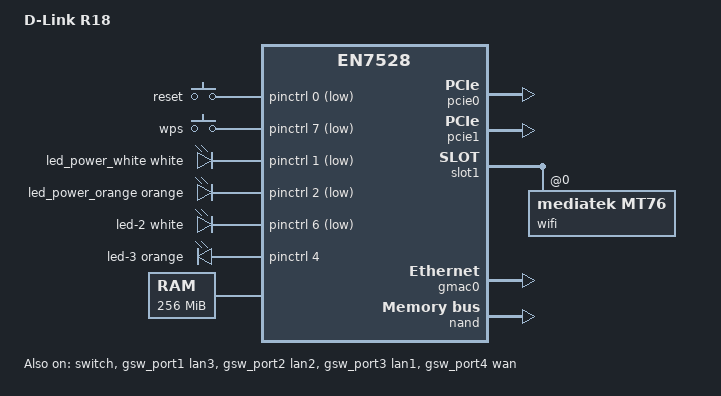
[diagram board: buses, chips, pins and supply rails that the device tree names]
// SPDX-License-Identifier: (GPL-2.0-only OR BSD-2-Clause)

/dts-v1/;

#include "en7528.dtsi"

#include <dt-bindings/gpio/gpio.h>
#include <dt-bindings/input/input.h>
#include <dt-bindings/leds/common.h>

/ {
	model = "D-Link R18";
	compatible = "dlink,r18", "econet,en7528";

	aliases {
		serial0 = &uart;
		label-mac-device = &gsw_port4;
		led-boot = &led_power_orange;
		led-failsafe = &led_power_orange;
		led-running = &led_power_white;
		led-upgrade = &led_power_orange;
	};

	/* GPIOs from stock amit_gpio_led_plat_dev.ko; verify on hardware */
	keys {
		compatible = "gpio-keys";

		key-reset {
			label = "reset";
			gpios = <&pinctrl 0 GPIO_ACTIVE_LOW>;
			linux,code = <KEY_RESTART>;
			debounce-interval = <60>;
		};

		key-wps {
			label = "wps";
			gpios = <&pinctrl 7 GPIO_ACTIVE_LOW>;
			linux,code = <KEY_WPS_BUTTON>;
			debounce-interval = <60>;
		};
	};

	leds {
		compatible = "gpio-leds";

		led_power_white: led-0 {
			color = <LED_COLOR_ID_WHITE>;
			function = LED_FUNCTION_POWER;
			gpios = <&pinctrl 1 GPIO_ACTIVE_LOW>;
		};

		led_power_orange: led-1 {
			color = <LED_COLOR_ID_ORANGE>;
			function = LED_FUNCTION_POWER;
			gpios = <&pinctrl 2 GPIO_ACTIVE_LOW>;
		};

		led-2 {
			color = <LED_COLOR_ID_WHITE>;
			function = LED_FUNCTION_WAN_ONLINE;
			gpios = <&pinctrl 6 GPIO_ACTIVE_LOW>;
		};

		led-3 {
			color = <LED_COLOR_ID_ORANGE>;
			function = LED_FUNCTION_WAN;
			/* stock table says active-high; unverified */
			gpios = <&pinctrl 4 GPIO_ACTIVE_HIGH>;
		};
	};

	memory@0 {
		device_type = "memory";
		reg = <0x00000000 0x10000000>;
	};

	chosen {
		stdout-path = "serial0:115200n8";
		linux,usable-memory-range = <0x00020000 0x0ffe0000>;
	};
};

/* pcie0: 14c3:7916, second host interface (hif2) of the MT7915 on pcie1 */
&pcie0 {
	status = "okay";
};

&pcie1 {
	status = "okay";
};

&slot1 {
	status = "okay";

	wifi@0,0 {
		compatible = "mediatek,mt76";
		reg = <0x0000 0 0 0 0>;
		#address-cells = <1>;
		#size-cells = <0>;
		/*
		 * Board EEPROM (from the stock rootfs file
		 * /etc/Wireless/RT2860AP_AC/RT30xxEEPROM.bin), copied to
		 * reservearea+0 at install time - see "wifi-cal".
		 */
		nvmem-cells = <&eeprom_wifi_cal_0>;
		nvmem-cell-names = "eeprom";

		band@0 {
			/* 2.4 GHz; stock "MainSsid" MAC = base + 9 */
			reg = <0>;
			nvmem-cells = <&macaddr_odm 9>;
			nvmem-cell-names = "mac-address";
		};

		band@1 {
			/* 5 GHz; offset not confirmed against stock */
			reg = <1>;
			nvmem-cells = <&macaddr_odm 10>;
			nvmem-cell-names = "mac-address";
		};
	};
};

&gmac0 {
	status = "okay";
	nvmem-cells = <&macaddr_odm 0>;
	nvmem-cell-names = "mac-address";
};

&switch {
	status = "okay";
};

/* Socket labels verified on hardware; WAN = port 4 as in stock */
&gsw_port1 {
	label = "lan3";
	status = "okay";
};

&gsw_port2 {
	label = "lan2";
	status = "okay";
};

&gsw_port3 {
	label = "lan1";
	status = "okay";
};

&gsw_port4 {
	label = "wan";
	/* rating label MAC = base+1 (default SSID R18-BF81 uses it too) */
	nvmem-cells = <&macaddr_odm 1>;
	nvmem-cell-names = "mac-address";
	status = "okay";
};

&nand {
	status = "okay";

	/*
	 * Bootloader BBT/BMT: reserve = 8% = 81 blocks (BBT "RAWB" @0x75e0000,
	 * BMT @0x7fe0000), BBT checksum over 250 entries (bootram 0x83fdb72c).
	 */
	econet,bmt;
	econet,bbt-table-size = <250>;
	econet,assert-reserve-size = <81>;

	/*
	 * OpenWrt lives in slot A (tclinux); stock firmware stays untouched in
	 * slot B (tclinux_slave) as fallback. Everything except slot A and the
	 * benv boot flags is read-only.
	 */
	partitions {
		compatible = "fixed-partitions";
		#address-cells = <1>;
		#size-cells = <1>;

		partition@0 {
			label = "bootloader";
			reg = <0x0 0x40000>;
			read-only;
		};

		partition@40000 {
			label = "romfile";
			reg = <0x40000 0x40000>;
			read-only;
		};

		partition@80000 {
			label = "tclinux";
			reg = <0x80000 0x2d00000>;
		};

		/*
		 * Nested inside of tclinux: HDR2 trx (kernel) padded to 8 MiB, so the
		 * A-derived read size (A-length bug) also covers the recovery image
		 * in slot B.
		 */
		partition1@80000 {
			label = "tclinux_kernel";
			reg = <0x80000 0x800000>;
		};

		partition1@880000 {
			label = "ubi";
			reg = <0x880000 0x2500000>;
		};

		partition@2d80000 {
			label = "tclinux_slave";
			reg = <0x2d80000 0x2d00000>;
			read-only;
		};

		partition@5a80000 {
			label = "Config0";
			reg = <0x5a80000 0x100000>;
			read-only;
		};

		partition@5b80000 {
			label = "Config1";
			reg = <0x5b80000 0x100000>;
			read-only;
		};

		partition@5c80000 {
			label = "ODM";
			reg = <0x5c80000 0x100000>;
			read-only;

			nvmem-layout {
				compatible = "fixed-layout";
				#address-cells = <1>;
				#size-cells = <1>;

				/* CSID TLV store; base MAC record value at 0x82 */
				macaddr_odm: macaddr@82 {
					compatible = "mac-base";
					reg = <0x82 0x6>;
					#nvmem-cell-cells = <1>;
				};
			};
		};

		/* boot flags (CSID store); written only by the boot-flag tool */
		partition@5d80000 {
			label = "benv";
			reg = <0x5d80000 0x100000>;
		};

		partition@5e80000 {
			label = "mydlink";
			reg = <0x5e80000 0x200000>;
			read-only;
		};

		partition@6080000 {
			label = "storage";
			reg = <0x6080000 0x900000>;
			read-only;
		};

		partition@6980000 {
			label = "unused";
			reg = <0x6980000 0x440000>;
			read-only;
		};

		partition@6dc0000 {
			label = "reservearea";
			reg = <0x6dc0000 0x240000>;
			read-only;
		};

		/*
		 * Nested inside of reservearea: the stock Wi-Fi driver first
		 * looks for its EEPROM at reservearea+0 (32 KiB); unused (zero)
		 * on stock units. OpenWrt stores the MT7915 EEPROM here.
		 */
		partition1@6dc0000 {
			label = "wifi-cal";
			reg = <0x6dc0000 0x20000>;
			read-only;

			nvmem-layout {
				compatible = "fixed-layout";
				#address-cells = <1>;
				#size-cells = <1>;

				eeprom_wifi_cal_0: eeprom@0 {
					reg = <0x0 0xe00>;
				};
			};
		};
	};
};
